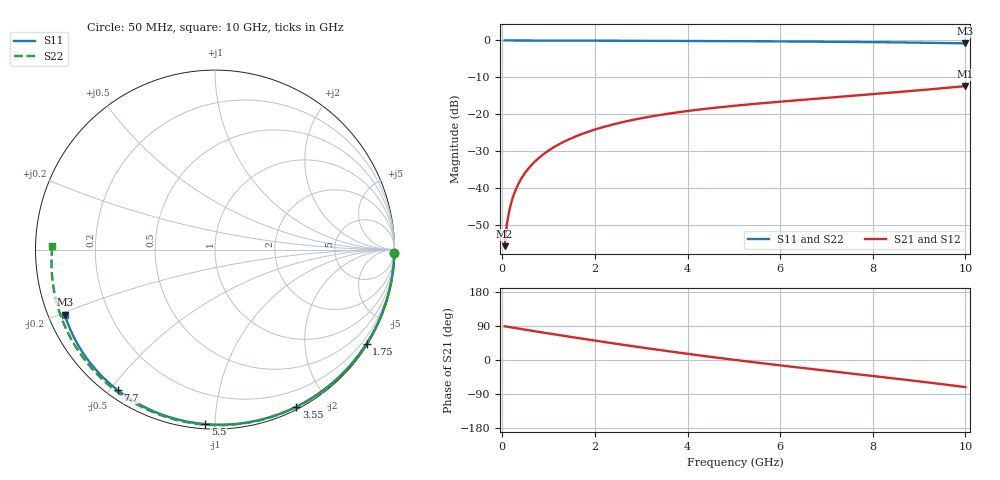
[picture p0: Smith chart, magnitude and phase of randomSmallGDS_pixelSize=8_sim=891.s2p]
! freq	dB(S11)	phase(S11)	dB(S12)	phase(S12)
!  dB(S21)	phase(S21)	dB(S22)	phase(S22)
!S-par simulation data
#  GHz  S  DB  R 50
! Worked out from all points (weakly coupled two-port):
!   200 points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, 50 MHz to 10 GHz, reference 50 ohm
!   highest |S21| = -12.35 dB at 10 GHz (marker M1); lowest = -55.6 dB at 50 MHz (marker M2)
!   lowest |S11| = -0.8 dB at 10 GHz (marker M3), VSWR 21.81, Z = 2.39 - j10.3 ohm
!   |S11| at or under -10 dB: nowhere
!   |S22| runs from -0.8 to 0.0 dB; largest |S21 - S12| = 0
!   S11 on the Smith chart (normalised r, x): 50 MHz: open; 1.75 GHz: 0.04, -3.51; 3.55 GHz: 0.03, -1.64; 5.5 GHz: 0.03, -0.95; 7.7 GHz: 0.03, -0.52; 10 GHz: 0.05, -0.21
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0.05  -0.01 -0.9  -55.61 89.0  -55.61 89.0  -0.01 -1.1
0.1  -0.01 -1.9  -49.59 88.0  -49.59 88.0  -0.01 -2.1
0.15  -0.01 -2.8  -46.07 86.9  -46.07 86.9  -0.01 -3.2
0.2  -0.01 -3.7  -43.57 85.9  -43.57 85.9  -0.01 -4.2
0.25  -0.01 -4.6  -41.64 84.9  -41.64 84.9  -0.01 -5.2
0.35  -0.01 -6.5  -38.73 82.9  -38.73 82.9  -0.01 -7.3
0.5  -0.01 -9.2  -35.66 79.9  -35.66 79.9  -0.01 -10.5
0.7  -0.02 -12.9  -32.78 75.9  -32.78 75.9  -0.02 -14.7
1  -0.03 -18.4  -29.76 70.1  -29.76 70.1  -0.03 -20.9
1.35  -0.04 -24.7  -27.26 63.4  -27.26 63.4  -0.04 -28.1
1.75  -0.05 -31.8  -25.15 55.8  -25.15 55.8  -0.06 -36.2
2.6  -0.09 -46.7  -22.08 40.3  -22.08 40.3  -0.09 -52.9
3.4  -0.12 -60.2  -20.16 26.3  -20.16 26.3  -0.13 -68.1
3.55  -0.13 -62.6  -19.87 23.8  -19.87 23.8  -0.14 -70.9
4.3  -0.16 -74.7  -18.61 11.5  -18.61 11.5  -0.18 -84.5
5.05  -0.20 -86.3  -17.62 -0.2  -17.62 -0.2  -0.22 -97.7
5.5  -0.23 -93.1  -17.09 -6.9  -17.09 -6.9  -0.25 -105.3
6.7  -0.32 -110.6  -15.85 -24.1  -15.85 -24.1  -0.35 -125.3
7.7  -0.42 -124.7  -14.85 -38.0  -14.85 -38.0  -0.45 -141.7
8.35  -0.50 -133.7  -14.18 -47.1  -14.18 -47.1  -0.54 -152.4
9.2  -0.64 -145.4  -13.27 -59.3  -13.27 -59.3  -0.68 -166.9
10  -0.80 -156.6  -12.35 -71.5  -12.35 -71.5  -0.85 178.9
